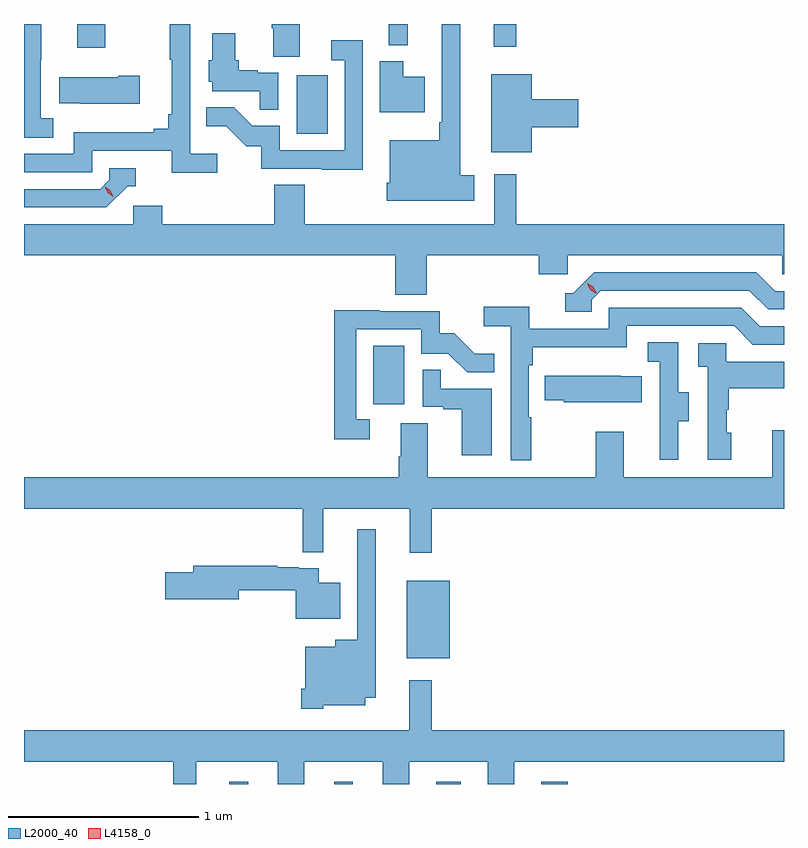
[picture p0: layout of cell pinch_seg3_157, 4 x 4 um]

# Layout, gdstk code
import gdstk
lib = gdstk.Library(unit=1e-6, precision=1e-09)
def R(c, l, rs):  # rectangles x0, y0, x1, y1
    for r in rs: c.add(gdstk.rectangle(r[:2], r[2:], *l))
def P(c, l, *ps):  # polygons
    for p in ps: c.add(gdstk.Polygon(p, *l))
L2000_40 = (2000, 40)
L4158_0 = (4158, 0)

pinch_seg3_157 = lib.new_cell('pinch_seg3_157')
R(pinch_seg3_157, L2000_40, [(1089.416,706.126,1089.514,706.138), (1089.968,706.126,1090.066,706.138), (1090.505,706.126,1090.633,706.138), (1091.057,706.126,1091.198,706.138), (1090.349,706.787,1090.576,707.197), (1090.172,708.126,1090.336,708.433), (1089.77,709.548,1089.934,709.855), (1088.615,710.001,1088.763,710.126), (1090.808,710.007,1090.925,710.126), (1090.256,710.015,1090.355,710.126)])
P(pinch_seg3_157, L2000_40, [(1089.352,709.444),(1089.21,709.444),(1089.21,710.126),(1089.102,710.126),(1089.102,709.939),(1089.113,709.939),(1089.113,709.651),(1089.094,709.651),(1089.094,709.574),(1089.017,709.574),(1089.017,709.555),(1088.598,709.555),(1088.598,709.443),(1088.335,709.443),(1088.335,709.347),(1088.694,709.347),(1088.694,709.458),(1089.113,709.458),(1089.113,709.342),(1089.352,709.342)],
  [(1090.705,709.331),(1090.63,709.331),(1090.63,710.126),(1090.533,710.126),(1090.533,709.609),(1090.521,709.609),(1090.521,709.513),(1090.259,709.513),(1090.259,709.291),(1090.245,709.291),(1090.245,709.196),(1090.705,709.196)],
  [(1089.787,710.126),(1089.64,710.126),(1089.64,710.103),(1089.647,710.103),(1089.647,709.954),(1089.787,709.954)],
  [(1088.488,709.631),(1088.424,709.631),(1088.424,709.935),(1088.426,709.935),(1088.426,710.126),(1088.335,710.126),(1088.335,709.528),(1088.488,709.528)],
  [(1089.672,709.869),(1089.566,709.869),(1089.566,709.882),(1089.466,709.882),(1089.466,709.935),(1089.448,709.935),(1089.448,710.077),(1089.326,710.077),(1089.326,709.935),(1089.308,709.935),(1089.308,709.821),(1089.326,709.821),(1089.326,709.773),(1089.577,709.773),(1089.577,709.675),(1089.672,709.675)],
  [(1090.119,710.041),(1089.951,710.041),(1089.951,709.935),(1090.023,709.935),(1090.023,709.461),(1089.681,709.461),(1089.681,709.59),(1089.537,709.59),(1089.439,709.688),(1089.295,709.688),(1089.295,709.589),(1089.399,709.589),(1089.506,709.482),(1089.583,709.482),(1089.583,709.365),(1089.901,709.365),(1089.901,709.36),(1090.119,709.36)],
  [(1090.444,709.849),(1090.33,709.849),(1090.33,709.93),(1090.208,709.93),(1090.208,709.661),(1090.444,709.661)],
  [(1091.008,709.583),(1091.251,709.583),(1091.251,709.73),(1091.008,709.73),(1091.008,709.861),(1090.793,709.861),(1090.793,709.451),(1091.008,709.451)],
  [(1088.944,709.854),(1088.831,709.854),(1088.831,709.846),(1088.521,709.846),(1088.521,709.709),(1088.629,709.709),(1088.629,709.706),(1088.944,709.706)],
  [(1088.88,709.272),(1088.923,709.272),(1088.923,709.368),(1088.784,709.368),(1088.784,709.305),(1088.736,709.257),(1088.335,709.257),(1088.335,709.161),(1088.769,709.161)],
  [(1090.454,708.908),(1091.045,708.908),(1091.045,708.81),(1091.196,708.81),(1091.196,708.908),(1092.327,708.908),(1092.327,708.81),(1092.335,708.81),(1092.335,709.072),(1090.925,709.072),(1090.925,709.336),(1090.809,709.336),(1090.809,709.072),(1089.813,709.072),(1089.813,709.28),(1089.653,709.28),(1089.653,709.072),(1089.062,709.072),(1089.062,709.17),(1088.91,709.17),(1088.91,709.072),(1088.335,709.072),(1088.335,708.908),(1090.289,708.908),(1090.289,708.7),(1090.454,708.7)],
  [(1091.322,708.675),(1091.37,708.723),(1092.153,708.723),(1092.252,708.624),(1092.335,708.624),(1092.335,708.72),(1092.289,708.72),(1092.19,708.819),(1091.337,708.819),(1091.226,708.708),(1091.183,708.708),(1091.183,708.612),(1091.322,708.612)],
  [(1091.005,708.056),(1090.992,708.056),(1090.992,708.329),(1091.012,708.329),(1091.012,708.425),(1091.508,708.425),(1091.508,708.537),(1092.072,708.537),(1092.171,708.438),(1092.335,708.438),(1092.335,708.534),(1092.208,708.534),(1092.109,708.633),(1091.412,708.633),(1091.412,708.522),(1090.994,708.522),(1090.994,708.638),(1090.755,708.638),(1090.755,708.536),(1090.896,708.536),(1090.896,707.829),(1091.005,707.829)],
  [(1090.156,708.045),(1090.083,708.045),(1090.083,708.519),(1090.425,708.519),(1090.425,708.39),(1090.569,708.39),(1090.667,708.292),(1090.811,708.292),(1090.811,708.391),(1090.707,708.391),(1090.6,708.498),(1090.524,708.498),(1090.524,708.615),(1090.205,708.615),(1090.205,708.62),(1089.967,708.62),(1089.967,707.94),(1090.156,707.94)],
  [(1091.779,708.034),(1091.833,708.034),(1091.833,708.189),(1091.778,708.189),(1091.778,708.452),(1091.619,708.452),(1091.619,708.349),(1091.682,708.349),(1091.682,708.045),(1091.681,708.045),(1091.681,707.832),(1091.779,707.832)],
  [(1092.058,707.976),(1092.033,707.976),(1092.033,708.095),(1092.043,708.095),(1092.043,708.209),(1092.335,708.209),(1092.335,708.349),(1092.03,708.349),(1092.03,708.447),(1091.883,708.447),(1091.883,708.323),(1091.934,708.323),(1091.934,707.832),(1092.058,707.832)],
  [(1090.798,708.207),(1090.529,708.207),(1090.529,708.305),(1090.434,708.305),(1090.434,708.111),(1090.541,708.111),(1090.541,708.099),(1090.64,708.099),(1090.64,707.856),(1090.798,707.856)],
  [(1091.585,708.271),(1091.477,708.271),(1091.477,708.274),(1091.077,708.274),(1091.077,708.145),(1091.175,708.145),(1091.175,708.134),(1091.585,708.134)],
  [(1090.459,708.026),(1090.319,708.026),(1090.319,707.852),(1090.307,707.852),(1090.307,707.74),(1088.335,707.74),(1088.335,707.576),(1089.802,707.576),(1089.802,707.347),(1089.911,707.347),(1089.911,707.576),(1090.364,707.576),(1090.364,707.343),(1090.481,707.343),(1090.481,707.576),(1092.335,707.576),(1092.335,707.989),(1092.272,707.989),(1092.272,707.74),(1091.491,707.74),(1091.491,707.98),(1091.344,707.98),(1091.344,707.74),(1090.459,707.74)],
  [(1089.909,706.541),(1090.132,706.541),(1090.132,706.58),(1090.186,706.58),(1090.186,707.467),(1090.089,707.467),(1090.089,706.885),(1089.974,706.885),(1089.974,706.849),(1089.815,706.849),(1089.815,706.627),(1089.794,706.627),(1089.794,706.523),(1089.909,706.523)],
  [(1090,707.185),(1089.886,707.185),(1089.886,707.262),(1089.782,707.262),(1089.782,707.268),(1089.668,707.268),(1089.668,707.275),(1089.227,707.275),(1089.227,707.241),(1089.078,707.241),(1089.078,707.099),(1089.466,707.099),(1089.466,707.146),(1089.764,707.146),(1089.764,706.997),(1090,706.997)],
  [(1088.335,706.244),(1089.12,706.244),(1089.12,706.126),(1089.241,706.126),(1089.241,706.244),(1089.671,706.244),(1089.671,706.126),(1089.811,706.126),(1089.811,706.244),(1090.223,706.244),(1090.223,706.126),(1090.363,706.126),(1090.363,706.244),(1090.775,706.244),(1090.775,706.126),(1090.915,706.126),(1090.915,706.244),(1092.335,706.244),(1092.335,706.408),(1090.481,706.408),(1090.481,706.672),(1090.363,706.672),(1090.363,706.408),(1088.335,706.408)])
P(pinch_seg3_157, L4158_0, [(1091.345,708.708),(1091.315,708.728),(1091.299,708.761),(1091.299,708.762),(1091.3,708.762),(1091.33,708.742),(1091.346,708.709),(1091.346,708.708)],
  [(1088.805,709.217),(1088.775,709.237),(1088.759,709.27),(1088.759,709.27),(1088.759,709.27),(1088.79,709.25),(1088.806,709.217),(1088.806,709.217)])

lib.write_gds('pinch_seg3_157.gds')
